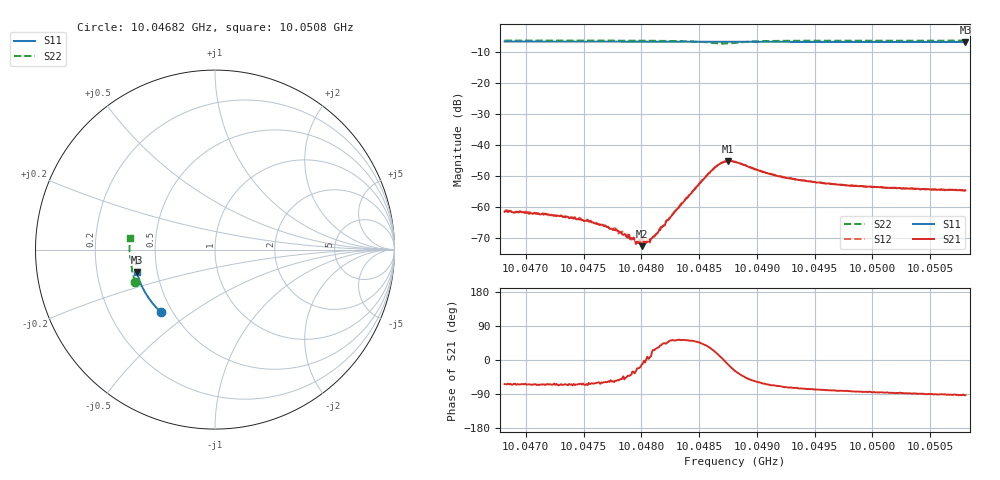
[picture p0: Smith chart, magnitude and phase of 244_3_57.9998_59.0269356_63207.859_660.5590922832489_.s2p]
#  HZ  S  RI  R  50.00
! Rohde & Schwarz Vector Network Analyzer
! Rohde-Schwarz,ZNB20-2Port,1311601062101988,3.16
! Created: UTC 3/21/2024, 1:01:12 AM
! freq[Hz]  re:S11  im:S11  re:S21  im:S21  re:S12  im:S12  re:S22  im:S22
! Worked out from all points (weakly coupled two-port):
!   401 points, 10.04682 GHz to 10.0508 GHz, reference 50 ohm
!   highest |S21| = -45.11 dB at 10.04875 GHz (marker M1); lowest = -72.5 dB at 10.048 GHz (marker M2)
!   lowest |S11| = -6.9 dB at 10.0508 GHz (marker M3), VSWR 2.66, Z = 19.1 - j6.01 ohm
!   |S11| at or under -10 dB: nowhere
!   |S22| runs from -7.4 to -6.4 dB; largest |S21 - S12| = 0.00042
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1.0046817e10  -0.3028 -0.3474  0.000375 -0.000758  0.000431 -0.000755  -0.4434 -0.1826
1.0047166e10  -0.3194 -0.331  0.000321 -0.000715  0.000393 -0.00069  -0.4514 -0.1602
1.0047485e10  -0.3338 -0.3156  0.000266 -0.000568  0.00031 -0.000536  -0.4574 -0.1387
1.0047585e10  -0.338 -0.3107  0.000264 -0.000505  0.00032 -0.000485  -0.4592 -0.1317
1.0047784e10  -0.3466 -0.3005  0.000253 -0.000362  0.000261 -0.000313  -0.462 -0.1175
1.0047844e10  -0.3489 -0.2973  0.000263 -0.000246  0.00028 -0.000256  -0.4629 -0.1132
1.0047914e10  -0.3519 -0.2937  0.000249 -0.0002  0.000236 -0.000188  -0.4636 -0.1078
1.0047973e10  -0.3543 -0.2907  0.000246 -9.82e-05  0.000274 -8.29e-05  -0.4642 -0.1032
1.0048003e10  -0.3555 -0.2891  0.000232 -5.1e-05  0.000311 -7.68e-05  -0.4644 -0.1007
1.0048073e10  -0.3582 -0.2854  0.00027 3.44e-05  0.000273 7.87e-05  -0.465 -0.095
1.0048123e10  -0.3603 -0.2828  0.000317 0.000178  0.0003 0.000198  -0.4652 -0.091
1.0048153e10  -0.3616 -0.2811  0.000354 0.000238  0.000344 0.000268  -0.465 -0.0883
1.0048292e10  -0.3668 -0.2738  0.000536 0.000674  0.0005 0.000716  -0.4642 -0.0753
1.0048591e10  -0.3776 -0.2572  0.00302 0.00195  0.00294 0.0021  -0.4405 -0.0475
1.0048681e10  -0.3805 -0.2523  0.00493 0.000818  0.00489 0.00115  -0.4244 -0.0551
1.0048751e10  -0.3829 -0.2485  0.00543 -0.00114  0.00549 -0.000825  -0.4232 -0.0706
1.0048811e10  -0.3849 -0.2452  0.00468 -0.0026  0.0049 -0.00229  -0.4324 -0.0792
1.0049169e10  -0.3969 -0.2248  0.00119 -0.00298  0.0014 -0.00294  -0.4686 -0.0552
1.0049478e10  -0.4061 -0.2068  0.000585 -0.0025  0.000724 -0.00247  -0.4744 -0.0291
1.0049817e10  -0.4153 -0.1864  0.000285 -0.00219  0.000402 -0.0022  -0.4762 -0.0037
1.0050146e10  -0.4233 -0.1661  0.00011 -0.00204  0.000238 -0.00206  -0.4758 0.0194
1.0050804e10  -0.4361 -0.1249  -9.41e-05 -0.00187  9.1e-06 -0.00188  -0.4717 0.0639
